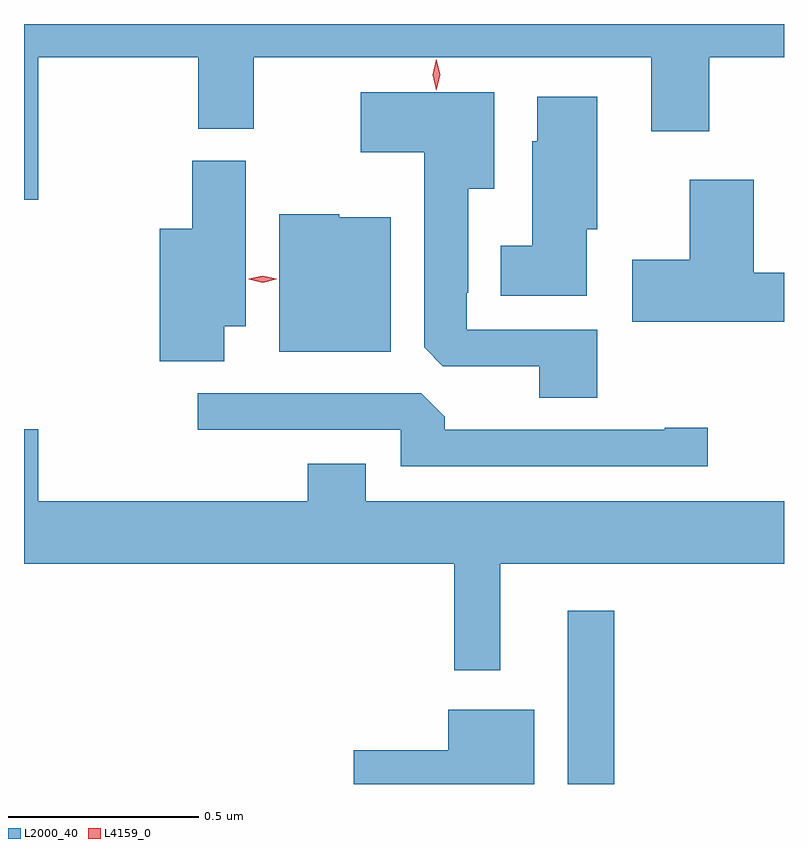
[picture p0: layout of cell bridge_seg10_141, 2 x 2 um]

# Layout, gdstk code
import gdstk
lib = gdstk.Library(unit=1e-6, precision=1e-09)
def R(c, l, rs):  # rectangles x0, y0, x1, y1
    for r in rs: c.add(gdstk.rectangle(r[:2], r[2:], *l))
def P(c, l, *ps):  # polygons
    for p in ps: c.add(gdstk.Polygon(p, *l))
L2000_40 = (2000, 40)
L4159_0 = (4159, 0)

bridge_seg10_141 = lib.new_cell('bridge_seg10_141')
R(bridge_seg10_141, L2000_40, [(346.385,1298.404,346.507,1298.86)])
P(bridge_seg10_141, L2000_40, [(346.604,1300.122),(346.757,1300.122),(346.757,1300.316),(346.954,1300.316),(346.954,1300.404),(344.954,1300.404),(344.954,1299.942),(344.992,1299.942),(344.992,1300.316),(345.412,1300.316),(345.412,1300.129),(345.559,1300.129),(345.559,1300.316),(346.604,1300.316)],
  [(346.463,1299.6),(346.119,1299.6),(346.119,1299.697),(346.123,1299.697),(346.123,1299.971),(346.192,1299.971),(346.192,1300.225),(345.84,1300.225),(345.84,1300.067),(346.007,1300.067),(346.007,1299.553),(346.056,1299.504),(346.31,1299.504),(346.31,1299.421),(346.463,1299.421)],
  [(346.435,1299.864),(346.462,1299.864),(346.462,1300.213),(346.304,1300.213),(346.304,1300.095),(346.292,1300.095),(346.292,1299.82),(346.208,1299.82),(346.208,1299.689),(346.435,1299.689)],
  [(345.481,1299.608),(345.538,1299.608),(345.538,1300.044),(345.397,1300.044),(345.397,1299.865),(345.311,1299.865),(345.311,1299.517),(345.481,1299.517)],
  [(346.857,1299.621),(346.954,1299.621),(346.954,1299.749),(346.874,1299.749),(346.874,1299.994),(346.706,1299.994),(346.706,1299.783),(346.554,1299.783),(346.554,1299.62),(346.857,1299.62)],
  [(345.919,1299.895),(345.783,1299.895),(345.783,1299.904),(345.626,1299.904),(345.626,1299.542),(345.919,1299.542)],
  [(346.753,1299.341),(346.64,1299.341),(346.64,1299.336),(346.061,1299.336),(346.061,1299.37),(345.999,1299.432),(345.411,1299.432),(345.411,1299.336),(345.945,1299.336),(345.945,1299.24),(346.753,1299.24)],
  [(345.853,1299.247),(345.701,1299.247),(345.701,1299.148),(344.992,1299.148),(344.992,1299.337),(344.954,1299.337),(344.954,1298.984),(346.086,1298.984),(346.086,1298.703),(346.207,1298.703),(346.207,1298.984),(346.954,1298.984),(346.954,1299.148),(345.853,1299.148)],
  [(346.297,1298.599),(346.07,1298.599),(346.07,1298.493),(345.822,1298.493),(345.822,1298.404),(346.297,1298.404)])
P(bridge_seg10_141, L4159_0, [(346.039,1300.23),(346.039,1300.23),(346.029,1300.271),(346.039,1300.311),(346.039,1300.311),(346.039,1300.311),(346.049,1300.271),(346.039,1300.23)],
  [(345.582,1299.723),(345.545,1299.732),(345.545,1299.732),(345.545,1299.733),(345.582,1299.742),(345.618,1299.733),(345.619,1299.733),(345.618,1299.732)])

lib.write_gds('bridge_seg10_141.gds')
